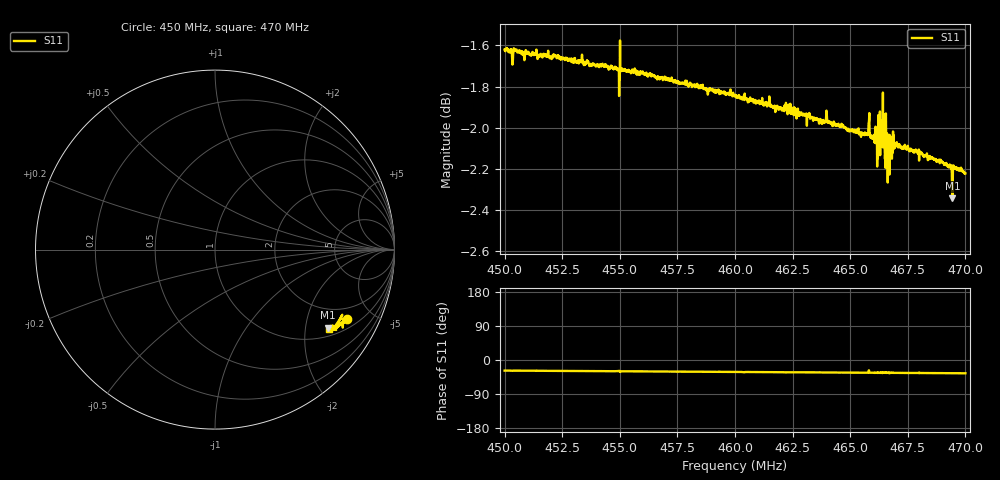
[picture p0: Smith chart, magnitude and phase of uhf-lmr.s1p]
! Calibrated averaged scanner-service zoom
# Hz S RI R 50
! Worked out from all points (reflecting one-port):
!   2001 points, 450 MHz to 470 MHz, reference 50 ohm
!   lowest |S11| = -2.3 dB at 469.44 MHz (marker M1), VSWR 7.46, Z = 63.6 - j133 ohm
!   phase of S11 starts at -28 deg and turns -7 deg over the sweep
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4.5e8  0.7333 -0.3886
4.5027e8  0.7326 -0.3897
4.5049e8  0.7321 -0.3903
4.525e8  0.7235 -0.3982
4.55e8  0.7117 -0.4063
4.5511e8  0.7128 -0.4074
4.575e8  0.7007 -0.415
4.6e8  0.6899 -0.4223
4.6044e8  0.6867 -0.4243
4.6059e8  0.6884 -0.4194
4.6216e8  0.6788 -0.4283
4.625e8  0.6781 -0.4294
4.65e8  0.6628 -0.4356
4.6568e8  0.6596 -0.4371
4.6573e8  0.6597 -0.4376
4.6589e8  0.6577 -0.4375
4.6593e8  0.6588 -0.4377
4.6595e8  0.6578 -0.4366
4.6615e8  0.6555 -0.4359
4.6639e8  0.6473 -0.4455
4.6652e8  0.6554 -0.4288
4.6658e8  0.6569 -0.4392
4.6673e8  0.6533 -0.4423
4.6686e8  0.6545 -0.4472
4.675e8  0.6505 -0.4418
4.6917e8  0.6398 -0.4441
4.6944e8  0.6276 -0.4348
4.7e8  0.634 -0.4445
